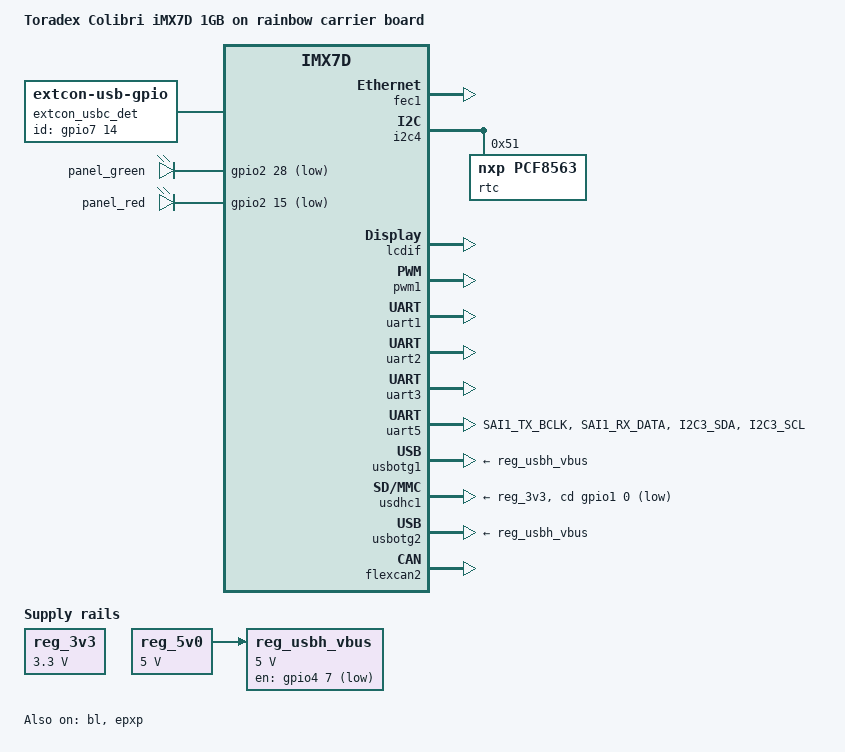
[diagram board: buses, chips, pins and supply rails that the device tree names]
/*
 * Copyright 2017 Toradex AG
 *
 * This program is free software; you can redistribute it and/or modify
 * it under the terms of the GNU General Public License as published by
 * the Free Software Foundation; either version 2 of the License, or
 * (at your option) any later version.
 */

/dts-v1/;
#include "imx7d-colibri-emmc.dtsi"

/ {
	model = "Toradex Colibri iMX7D 1GB on rainbow carrier board";
	compatible = "toradex,colibri_imx7d_emmc-eval", "toradex,colibri_imx7d_emmc", \
		     "fsl,imx7d";

    aliases {
        can0 = &flexcan2;
    };

    aliases {
        rtc0 = &rtc;
        rtc1 = &snvs_rtc;
    };

    extcon_usbc_det: usbc_det {
		compatible = "linux,extcon-usb-gpio";
		debounce = <25>;
		id-gpio = <&gpio7 14 GPIO_ACTIVE_HIGH>;
		pinctrl-names = "default";
		pinctrl-0 = <&pinctrl_usbc_det>;
	};

	reg_3v3: regulator-3v3 {
		compatible = "regulator-fixed";
		regulator-name = "3.3V";
		regulator-min-microvolt = <3300000>;
		regulator-max-microvolt = <3300000>;
	};

	reg_5v0: regulator-5v0 {
		compatible = "regulator-fixed";
		regulator-name = "5V";
		regulator-min-microvolt = <5000000>;
		regulator-max-microvolt = <5000000>;
	};

	reg_usbh_vbus: regulator-usbh-vbus {
		compatible = "regulator-fixed";
		pinctrl-names = "default";
		pinctrl-0 = <&pinctrl_usbh_reg>;
		regulator-name = "VCC_USB[1-4]";
		regulator-min-microvolt = <5000000>;
		regulator-max-microvolt = <5000000>;
		gpio = <&gpio4 7 GPIO_ACTIVE_LOW>;
		vin-supply = <&reg_5v0>;
	};

	leds {
    compatible = "gpio-leds";
    pinctrl-names = "default";
    pinctrl-0 = <&pinctrl_gpio_leds>;
    	led0: panel_green {
        	label = "panel_green";
        	gpios = <&gpio2 28 GPIO_ACTIVE_LOW>; /* SODIMM 106 */
        	default-state = "on";
    	};
		led1: panel_red {
        	label = "panel_red";
        	gpios = <&gpio2 15 GPIO_ACTIVE_LOW>; /* SODIMM 107 */
        	default-state = "off";
   		};
	};

    /delete-node/ sound;
};

&bl {
	brightness-levels = <0 4 8 16 32 64 128 255>;
	default-brightness-level = <6>;
	power-supply = <&reg_3v3>;
    enable-gpios = <&gpio5 1 GPIO_ACTIVE_LOW>;
	status = "okay";
};

&epxp {
	status = "okay";
};

&fec1 {
	status = "okay";
};

&i2c4 {
	status = "okay";
	rtc: pcf8563@51 {
        compatible = "nxp,pcf8563";
        reg = <0x51>;
	    status = "okay";
    };
};

&lcdif {
	display = <&display0>;
	status = "okay";

	display0: lcd-display {
		bits-per-pixel = <16>;
		bus-width = <18>;

		display-timings {
			native-mode = <&timing_wvga2>;

			/* Standard VGA timing */
			timing_vga: 640x480 {
				clock-frequency = <25175000>;
				hactive = <640>;
				vactive = <480>;
				hback-porch = <40>;
				hfront-porch = <24>;
				vback-porch = <32>;
				vfront-porch = <11>;
				hsync-len = <96>;
				vsync-len = <2>;

				de-active = <1>;
				hsync-active = <0>;
				vsync-active = <0>;
				pixelclk-active = <0>;
			};

			/* WVGA Timing, e.g. EDT ET070080DH6 */
			timing_wvga: 800x480 {
				clock-frequency = <33260000>;
				hactive = <800>;
				vactive = <480>;
				hback-porch = <216>;
				hfront-porch = <40>;
				vback-porch = <35>;
				vfront-porch = <10>;
				hsync-len = <128>;
				vsync-len = <2>;

				de-active = <1>;
				hsync-active = <0>;
				vsync-active = <0>;
				pixelclk-active = <0>;
			};
			/* WVGA Timing, TouchRevolution Fusion 7" */
			timing_wvga2: 800x480pixclkact {
				clock-frequency = <33260000>;
				hactive = <800>;
				vactive = <480>;
				hback-porch = <216>;
				hfront-porch = <40>;
				vback-porch = <35>;
				vfront-porch = <10>;
				hsync-len = <128>;
				vsync-len = <2>;

				de-active = <1>;
				hsync-active = <0>;
				vsync-active = <0>;
				pixelclk-active = <1>;
			};
			/* Standard SVGA timing */
			timing_svga: 800x600 {
				clock-frequency = <40000000>;
				hactive = <800>;
				vactive = <600>;
				hback-porch = <88>;
				hfront-porch = <40>;
				vback-porch = <23>;
				vfront-porch = <1>;
				hsync-len = <128>;
				vsync-len = <4>;

				de-active = <1>;
				hsync-active = <1>;
				vsync-active = <1>;
				pixelclk-active = <0>;
			};
			/* TouchRevolution Fusion 10"/CLAA101NC05 10.1 inch */
			timing_wsvga: 1024x600 {
				clock-frequency = <48000000>;
				hactive = <1024>;
				vactive = <600>;
				hback-porch = <104>;
				hfront-porch = <43>;
				vback-porch = <24>;
				vfront-porch = <20>;
				hsync-len = <5>;
				vsync-len = <5>;

				de-active = <1>;
				hsync-active = <0>;
				vsync-active = <0>;
				pixelclk-active = <0>;
			};
			/* Standard XGA timing */
			timing_xga: 1024x768 {
				clock-frequency = <65000000>;
				hactive = <1024>;
				vactive = <768>;
				hback-porch = <160>;
				hfront-porch = <24>;
				vback-porch = <29>;
				vfront-porch = <3>;
				hsync-len = <136>;
				vsync-len = <6>;

				de-active = <1>;
				hsync-active = <0>;
				vsync-active = <0>;
				pixelclk-active = <0>;
			};
		};
	};
};

&pwm1 {
	status = "okay";
};


&uart1 {
    linux,rs485-enabled-at-boot-time;
    rs485-rts-active-low;
    rs485-rx-during-tx;
	status = "okay";
};

&uart2 {
    linux,rs485-enabled-at-boot-time;
    rs485-rts-active-low;
    rs485-rx-during-tx;
    status = "okay";
};

&uart3 {
	status = "okay";
};

&uart5 {
	pinctrl-names = "default";
	pinctrl-0 = <&pinctrl_uart5dte>;
	assigned-clocks = <&clks IMX7D_UART5_ROOT_SRC>;
	assigned-clock-parents = <&clks IMX7D_OSC_24M_CLK>;
	/* for DTE mode, add below change */
	/* fsl,dte-mode; */
	/* pinctrl-0 = <&pinctrl_uart5dte>; */
	uart-has-rtscts;
	fsl,dte-mode;
	linux,rs485-enabled-at-boot-time;
    rs485-rts-active-low;
    rs485-rx-during-tx;
	status = "okay";
};

&usbotg1 {
	extcon = <&extcon_usbc_det>, <&extcon_usbc_det>;
	vbus-supply = <&reg_usbh_vbus>;
	status = "okay";
};

/* The define SD_1_8 allows to use the SD interface at a higher speed mode
 * if the card supports it. For this the signaling voltage is switched from
 * 3.3V to 1.8V under the usdhc1's drivers control.
 * All pins supplied with NVCC_SD1 must be able to cope with this
 * and must (MUST!!!) not be driven with a voltage higher than 1.8V or
 * the interface will not work.
 */
/* #define SD_1_8 */
&usdhc1 {
#ifdef SD_1_8
	pinctrl-names = "default", "state_100mhz", "state_200mhz";
	pinctrl-0 = <&pinctrl_usdhc1 &pinctrl_cd_usdhc1>;
	pinctrl-1 = <&pinctrl_usdhc1_100mhz &pinctrl_cd_usdhc1>;
	pinctrl-2 = <&pinctrl_usdhc1_200mhz &pinctrl_cd_usdhc1>;
	vqmmc-supply = <&reg_LDO2>;
#else
	pinctrl-names = "default";
	pinctrl-0 = <&pinctrl_usdhc1 &pinctrl_cd_usdhc1>;
	no-1-8-v;
#endif
	cd-gpios = <&gpio1 0 GPIO_ACTIVE_LOW>;
	disable-wp;
	enable-sdio-wakeup;
	keep-power-in-suspend;
	wakeup-source;
	status = "okay";
	vmmc-supply = <&reg_3v3>;
};

&iomuxc {
    pinctrl-0 = <&pinctrl_gpio1 &pinctrl_gpio2 &pinctrl_gpio3 
                 &pinctrl_gpio5 &pinctrl_gpio7>;  
	/delete-node/ pinctrl_gpio6;

	pinctrl_gpio_leds: gpioledsgrp {
    	fsl,pins = <
        	MX7D_PAD_EPDC_BDR0__GPIO2_IO28         0x32
			MX7D_PAD_EPDC_DATA15__GPIO2_IO15       0x32
    	>;
	};
	pinctrl_uart5dte: uart5dtegrp {
		fsl,pins = <
			MX7D_PAD_SAI1_TX_BCLK__UART5_DTE_RX  0x79  /*SODIUM 157*/
			MX7D_PAD_SAI1_RX_DATA__UART5_DTE_TX  0x79  /*SODIUM 169*/
			MX7D_PAD_I2C3_SDA__UART5_DTE_CTS     0x79  /*SODIUM 94*/
			MX7D_PAD_I2C3_SCL__UART5_DTE_RTS     0x79  /*SODIUM 81*/
		>;
	};

	pinctrl_gpio1: gpio1-grp {
		fsl,pins = <
			MX7D_PAD_SAI1_RX_SYNC__GPIO6_IO16	0x14 /* SODIMM 77 */
			MX7D_PAD_EPDC_DATA09__GPIO2_IO9		0x14 /* SODIMM 89 */
			MX7D_PAD_EPDC_DATA08__GPIO2_IO8		0x74 /* SODIMM 91 */
			MX7D_PAD_LCD_RESET__GPIO3_IO4		0x14 /* SODIMM 93 */
			MX7D_PAD_EPDC_DATA13__GPIO2_IO13	0x14 /* SODIMM 95 */
			MX7D_PAD_ENET1_RGMII_TXC__GPIO7_IO11	0x14 /* SODIMM 99 */
			MX7D_PAD_EPDC_DATA10__GPIO2_IO10	0x74 /* SODIMM 105 */
			MX7D_PAD_EPDC_DATA00__GPIO2_IO0		0x14 /* SODIMM 111 */
			MX7D_PAD_EPDC_DATA01__GPIO2_IO1		0x14 /* SODIMM 113 */
			MX7D_PAD_EPDC_DATA02__GPIO2_IO2		0x70 /* SODIMM 115 */
			MX7D_PAD_EPDC_DATA03__GPIO2_IO3		0x70 /* SODIMM 117 */
			MX7D_PAD_EPDC_DATA04__GPIO2_IO4		0x14 /* SODIMM 119 */
			MX7D_PAD_EPDC_DATA05__GPIO2_IO5		0x14 /* SODIMM 121 */
			MX7D_PAD_EPDC_DATA06__GPIO2_IO6		0x14 /* SODIMM 123 */
			MX7D_PAD_EPDC_DATA07__GPIO2_IO7		0x14 /* SODIMM 125 */
			MX7D_PAD_EPDC_SDCE2__GPIO2_IO22		0x14 /* SODIMM 127 */
			MX7D_PAD_UART3_RTS_B__GPIO4_IO6		0x14 /* SODIMM 131 */
			MX7D_PAD_EPDC_GDRL__GPIO2_IO26		0x14 /* SODIMM 133 */
			MX7D_PAD_SAI1_RX_BCLK__GPIO6_IO17	0x14 /* SODIMM 24 */
			MX7D_PAD_SD2_DATA2__GPIO5_IO16		0x14 /* SODIMM 100 */
			MX7D_PAD_SD2_DATA3__GPIO5_IO17		0x14 /* SODIMM 102 */
			MX7D_PAD_EPDC_GDSP__GPIO2_IO27		0x14 /* SODIMM 104 */
			MX7D_PAD_EPDC_BDR1__GPIO2_IO29		0x14 /* SODIMM 110 */
			MX7D_PAD_EPDC_PWR_COM__GPIO2_IO30	0x14 /* SODIMM 112 */
			MX7D_PAD_EPDC_SDCLK__GPIO2_IO16		0x14 /* SODIMM 114 */
			MX7D_PAD_EPDC_SDLE__GPIO2_IO17		0x14 /* SODIMM 116 */
			MX7D_PAD_EPDC_SDOE__GPIO2_IO18		0x70 /* SODIMM 118 */
			MX7D_PAD_EPDC_SDSHR__GPIO2_IO19		0x14 /* SODIMM 120 */
			MX7D_PAD_EPDC_SDCE0__GPIO2_IO20		0x14 /* SODIMM 122 */
			MX7D_PAD_EPDC_SDCE1__GPIO2_IO21		0x14 /* SODIMM 124 */
			MX7D_PAD_EPDC_DATA14__GPIO2_IO14	0x14 /* SODIMM 126 */
			MX7D_PAD_EPDC_PWR_STAT__GPIO2_IO31	0x14 /* SODIMM 128 */
			MX7D_PAD_EPDC_SDCE3__GPIO2_IO23		0x14 /* SODIMM 130 */
			MX7D_PAD_EPDC_GDCLK__GPIO2_IO24		0x14 /* SODIMM 132 */
			MX7D_PAD_EPDC_GDOE__GPIO2_IO25		0x14 /* SODIMM 134 */
			MX7D_PAD_EPDC_DATA12__GPIO2_IO12	0x14 /* SODIMM 150 */
			MX7D_PAD_EPDC_DATA11__GPIO2_IO11	0x14 /* SODIMM 152 */
			MX7D_PAD_SD2_CLK__GPIO5_IO12		0x14 /* SODIMM 184 */
			MX7D_PAD_SD2_CMD__GPIO5_IO13		0x14 /* SODIMM 186 */
		>;
	};

	pinctrl_gpio2: gpio2-grp { /* On X22 Camera interface */
		fsl,pins = <
			MX7D_PAD_SD1_CD_B__GPIO5_IO0		0x74 /* SODIMM 69 */
			MX7D_PAD_I2C4_SDA__GPIO4_IO15		0x14 /* SODIMM 75 */
			MX7D_PAD_ECSPI1_MISO__GPIO4_IO18	0x14 /* SODIMM 79 */
			MX7D_PAD_ECSPI2_MISO__GPIO4_IO22	0x14 /* SODIMM 85 */
			MX7D_PAD_ECSPI1_SS0__GPIO4_IO19		0x14 /* SODIMM 97 */
			MX7D_PAD_ECSPI1_SCLK__GPIO4_IO16	0x14 /* SODIMM 101 */
			MX7D_PAD_ECSPI1_MOSI__GPIO4_IO17	0x14 /* SODIMM 103 */
			MX7D_PAD_I2C4_SCL__GPIO4_IO14		0x14 /* SODIMM 96 */
			MX7D_PAD_SD2_RESET_B__GPIO5_IO11	0x14 /* SODIMM 98 */
		>;
	};
};

&usbotg2 {
	vbus-supply = <&reg_usbh_vbus>;
	status = "okay";
};

&flexcan2 {
    status = "okay";
};


